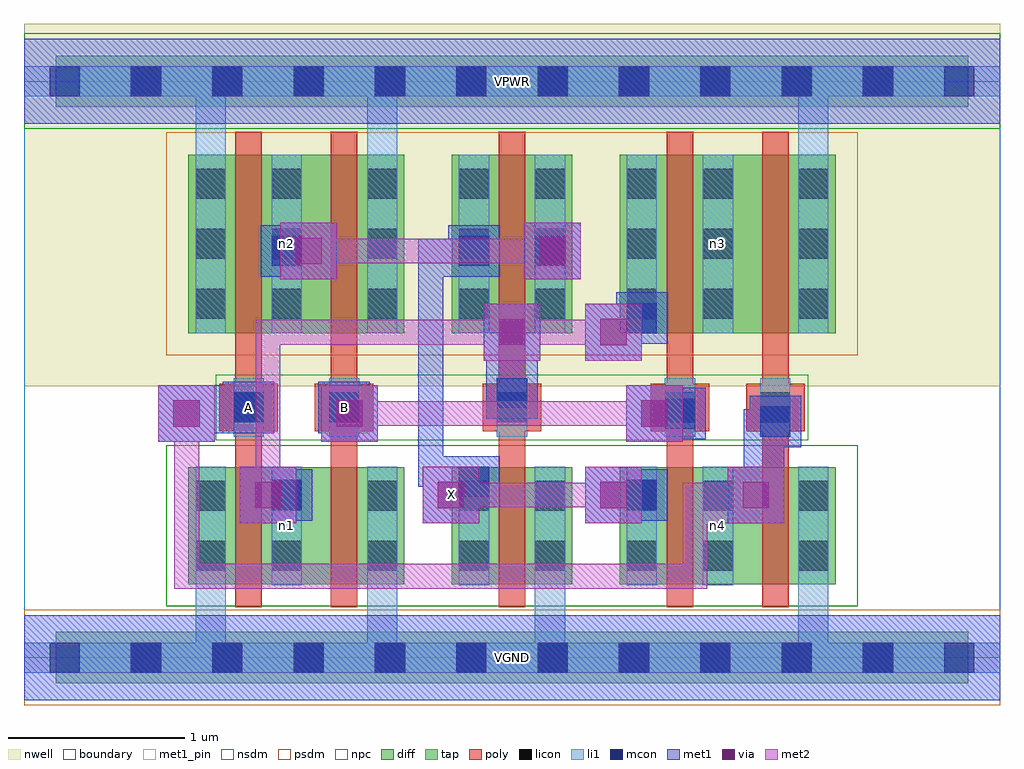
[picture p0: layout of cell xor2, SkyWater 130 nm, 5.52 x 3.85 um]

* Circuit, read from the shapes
.subckt xor2 A B VGND VPWR X n1 n2 n3 n4
XM1 n1 A VGND VGND sky130_fd_pr__nfet_01v8 w=0.66 l=0.15
XM2 VGND B n1 VGND sky130_fd_pr__nfet_01v8 w=0.66 l=0.15
XM3 VGND n1 X VGND sky130_fd_pr__nfet_01v8 w=0.66 l=0.15
XM4 n4 B X VGND sky130_fd_pr__nfet_01v8 w=0.66 l=0.15
XM5 VGND A n4 VGND sky130_fd_pr__nfet_01v8 w=0.66 l=0.15
XM6 n2 A VPWR VPWR sky130_fd_pr__pfet_01v8 w=1.01 l=0.15
XM7 VPWR B n2 VPWR sky130_fd_pr__pfet_01v8 w=1.01 l=0.15
XM8 n2 n1 X VPWR sky130_fd_pr__pfet_01v8 w=1.01 l=0.15
XM9 n3 B n1 VPWR sky130_fd_pr__pfet_01v8 w=1.01 l=0.15
XM10 VPWR A n3 VPWR sky130_fd_pr__pfet_01v8 w=1.01 l=0.15
.ends

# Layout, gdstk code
import gdstk
lib = gdstk.Library(unit=1e-6, precision=1e-09)
def R(c, l, rs):  # rectangles x0, y0, x1, y1
    for r in rs: c.add(gdstk.rectangle(r[:2], r[2:], *l))
def A(c, l, x, y, w, h, nx, ny, dx, dy):  # array of equal rectangles
    R(c, l, [(x+i*dx, y+j*dy, x+i*dx+w, y+j*dy+h) for i in range(nx) for j in range(ny)])
nwell = (64, 20)
diff = (65, 20)
tap = (65, 44)
poly = (66, 20)
licon = (66, 44)
li1 = (67, 20)
mcon = (67, 44)
met1_pin = (68, 16)
met1 = (68, 20)
via = (68, 44)
met2 = (69, 20)
nsdm = (93, 44)
psdm = (94, 20)
npc = (95, 20)
boundary = (235, 4)

xor2 = lib.new_cell('xor2')
R(xor2, nwell, [(0,1.535,5.52,3.585)])
R(xor2, diff, [(0.93,0.415,2.15,1.075), (2.42,0.415,3.1,1.075), (3.37,0.415,4.59,1.075), (0.93,1.835,2.15,2.845), (2.42,1.835,3.1,2.845), (3.37,1.835,4.59,2.845)])
R(xor2, tap, [(0.18,-0.145,5.34,0.145), (0.18,3.115,5.34,3.405)])
A(xor2, poly, 1.735, 0.285, 0.15, 2.69, 3, 1, 0.95, 0)
A(xor2, poly, 1.645, 1.28, 0.33, 0.27, 3, 1, 0.95, 0)
R(xor2, poly, [(1.195,0.285,1.345,2.975), (4.175,0.285,4.325,2.975), (1.105,1.28,1.435,1.55), (4.085,1.28,4.415,1.55)])
A(xor2, licon, 0.605, -0.085, 0.17, 0.17, 10, 2, 0.46, 3.26)
A(xor2, licon, 1.725, 1.33, 0.17, 0.17, 3, 1, 0.95, 0)
A(xor2, licon, 0.97, 1.915, 0.17, 0.17, 1, 3, 0, 0.34)
A(xor2, licon, 1.4, 1.915, 0.17, 0.17, 1, 3, 0, 0.34)
A(xor2, licon, 1.94, 1.915, 0.17, 0.17, 1, 3, 0, 0.34)
A(xor2, licon, 2.46, 1.915, 0.17, 0.17, 1, 3, 0, 0.34)
A(xor2, licon, 2.89, 1.915, 0.17, 0.17, 1, 3, 0, 0.34)
A(xor2, licon, 3.41, 1.915, 0.17, 0.17, 1, 3, 0, 0.34)
A(xor2, licon, 3.84, 1.915, 0.17, 0.17, 1, 3, 0, 0.34)
A(xor2, licon, 4.38, 1.915, 0.17, 0.17, 1, 3, 0, 0.34)
R(xor2, licon, [(0.97,0.49,1.14,0.66), (1.4,0.49,1.57,0.66), (1.94,0.49,2.11,0.66), (2.46,0.49,2.63,0.66), (2.89,0.49,3.06,0.66), (3.41,0.49,3.58,0.66), (3.84,0.49,4.01,0.66), (4.38,0.49,4.55,0.66), (0.97,0.83,1.14,1), (1.4,0.83,1.57,1), (1.94,0.83,2.11,1), (2.46,0.83,2.63,1), (2.89,0.83,3.06,1), (3.41,0.83,3.58,1), (3.84,0.83,4.01,1), (4.38,0.83,4.55,1), (1.185,1.33,1.355,1.5), (4.165,1.33,4.335,1.5)])
A(xor2, li1, 1.725, 1.25, 0.17, 0.33, 3, 1, 0.95, 0)
R(xor2, li1, [(0,-0.085,5.52,0.085), (0.97,-0.085,1.14,1.08), (1.94,-0.085,2.11,1.08), (2.89,-0.085,3.06,1.08), (4.38,-0.085,4.55,1.08), (0.97,0.41,1.14,1.08), (1.4,0.41,1.57,1.08), (1.94,0.41,2.11,1.08), (2.46,0.41,2.63,1.08), (2.89,0.41,3.06,1.08), (3.41,0.41,3.58,1.08), (3.84,0.41,4.01,1.08), (4.38,0.41,4.55,1.08), (1.185,1.25,1.355,1.58), (4.165,1.25,4.335,1.58), (0.97,1.835,1.14,2.845), (0.97,1.835,1.14,3.345), (1.4,1.835,1.57,2.845), (1.94,1.835,2.11,2.845), (1.94,1.835,2.11,3.345), (2.46,1.835,2.63,2.845), (2.89,1.835,3.06,2.845), (3.41,1.835,3.58,2.845), (3.84,1.835,4.01,2.845), (4.38,1.835,4.55,2.845), (4.38,1.835,4.55,3.345), (0,3.175,5.52,3.345)])
A(xor2, mcon, 0.145, -0.085, 0.17, 0.17, 12, 2, 0.46, 3.26)
R(xor2, mcon, [(1.4,0.835,1.57,1.005), (3.41,0.835,3.58,1.005), (2.46,0.91,2.63,1.08), (4.165,1.25,4.335,1.42), (3.625,1.295,3.795,1.465), (1.185,1.33,1.355,1.5), (1.725,1.33,1.895,1.5), (2.675,1.41,2.845,1.58), (3.41,1.835,3.58,2.005), (1.4,2.215,1.57,2.385), (2.46,2.215,2.63,2.385), (2.89,2.215,3.06,2.385)])
R(xor2, met1_pin, [(0,-0.24,5.52,0.24), (2.255,0.76,2.575,1.08), (1.125,1.27,1.415,1.56), (1.665,1.27,1.955,1.56), (0,3.02,5.52,3.5)])
R(xor2, met1, [(0,-0.24,5.52,0.24), (1.22,0.76,1.54,1.08), (2.255,0.76,2.575,1.08), (3.175,0.76,3.495,1.08), (3.98,0.76,4.3,1.08), (1.34,0.775,1.63,1.065), (3.35,0.775,3.64,1.065), (1.31,0.85,1.555,0.99), (2.345,0.85,2.485,1.105), (2.4,0.85,2.69,1.14), (3.265,0.85,3.565,0.99), (4.07,0.85,4.21,1.22), (2.345,0.925,2.615,1.065), (2.345,0.925,2.485,1.105), (2.23,0.965,2.485,1.105), (2.23,0.965,2.37,2.37), (2.37,0.965,2.4,1.14), (4.07,1.08,4.21,1.405), (4.105,1.08,4.3,1.19), (4.105,1.19,4.395,1.48), (0.76,1.22,1.08,1.54), (1.68,1.22,2,1.54), (3.405,1.22,3.725,1.54), (3.565,1.235,3.855,1.525), (4.07,1.265,4.32,1.405), (1.08,1.27,1.125,1.54), (1.125,1.27,1.415,1.56), (1.665,1.27,1.955,1.56), (0.85,1.31,1.335,1.45), (1.195,1.31,1.335,1.45), (1.77,1.31,1.91,1.45), (3.495,1.31,3.78,1.45), (2.615,1.35,2.905,1.64), (2.69,1.425,2.83,1.91), (2.615,1.64,2.905,1.68), (2.6,1.68,2.92,2), (3.175,1.68,3.495,2), (3.265,1.77,3.405,1.99), (3.35,1.775,3.64,2.065), (3.265,1.85,3.565,1.99), (1.45,2.14,1.77,2.46), (2.83,2.14,3.15,2.46), (1.34,2.155,1.63,2.445), (2.37,2.155,2.4,2.37), (2.4,2.155,2.69,2.445), (2.83,2.155,3.12,2.445), (1.415,2.23,1.68,2.37), (2.23,2.23,2.485,2.37), (2.345,2.23,2.615,2.37), (2.905,2.23,3.06,2.37), (0,3.02,5.52,3.5)])
R(xor2, via, [(1.305,0.845,1.455,0.995), (2.34,0.845,2.49,0.995), (3.26,0.845,3.41,0.995), (4.065,0.845,4.215,0.995), (0.845,1.305,0.995,1.455), (1.765,1.305,1.915,1.455), (3.49,1.305,3.64,1.455), (2.685,1.765,2.835,1.915), (3.26,1.765,3.41,1.915), (1.535,2.225,1.685,2.375), (2.915,2.225,3.065,2.375)])
R(xor2, met2, [(0.85,0.39,0.99,1.45), (0.85,0.39,3.865,0.53), (3.725,0.39,3.865,0.99), (1.22,0.76,1.54,1.08), (2.255,0.76,2.575,1.08), (3.175,0.76,3.495,1.08), (3.865,0.76,3.98,0.99), (3.98,0.76,4.3,1.08), (1.31,0.85,1.45,1.91), (2.345,0.85,3.405,0.99), (3.725,0.85,4.21,0.99), (0.76,1.22,1.08,1.54), (1.68,1.22,2,1.54), (3.405,1.22,3.725,1.54), (1.77,1.31,3.635,1.45), (2.6,1.68,2.92,2), (3.175,1.68,3.495,2), (1.31,1.77,2.83,1.91), (2.69,1.77,3.405,1.91), (1.45,2.14,1.77,2.46), (2.83,2.14,3.15,2.46), (1.54,2.23,3.06,2.37)])
R(xor2, nsdm, [(0.805,0.29,4.715,1.2), (0,2.99,5.52,3.53)])
R(xor2, psdm, [(0,-0.27,5.52,0.27), (0.805,1.71,4.715,2.97)])
R(xor2, npc, [(1.085,1.23,4.435,1.6)])
R(xor2, boundary, [(0,0,5.52,3.26)])
xor2.add(gdstk.Label('n1', (1.485,0.745), layer=67, texttype=5))
xor2.add(gdstk.Label('n4', (3.925,0.745), layer=67, texttype=5))
xor2.add(gdstk.Label('n2', (1.485,2.34), layer=67, texttype=5))
xor2.add(gdstk.Label('n3', (3.925,2.34), layer=67, texttype=5))
xor2.add(gdstk.Label('A', (1.27,1.415), layer=68, texttype=5))
xor2.add(gdstk.Label('B', (1.81,1.415), layer=68, texttype=5))
xor2.add(gdstk.Label('X', (2.415,0.92), layer=68, texttype=5))
xor2.add(gdstk.Label('VPWR', (2.76,3.26), layer=68, texttype=5))
xor2.add(gdstk.Label('VGND', (2.76,0), layer=68, texttype=5))
xor2.add(gdstk.Label('A', (1.27,1.415), layer=68, texttype=16))
xor2.add(gdstk.Label('B', (1.81,1.415), layer=68, texttype=16))
xor2.add(gdstk.Label('X', (2.415,0.92), layer=68, texttype=16))
xor2.add(gdstk.Label('VPWR', (2.76,3.26), layer=68, texttype=16))
xor2.add(gdstk.Label('VGND', (2.76,0), layer=68, texttype=16))

lib.write_gds('xor2.gds')
